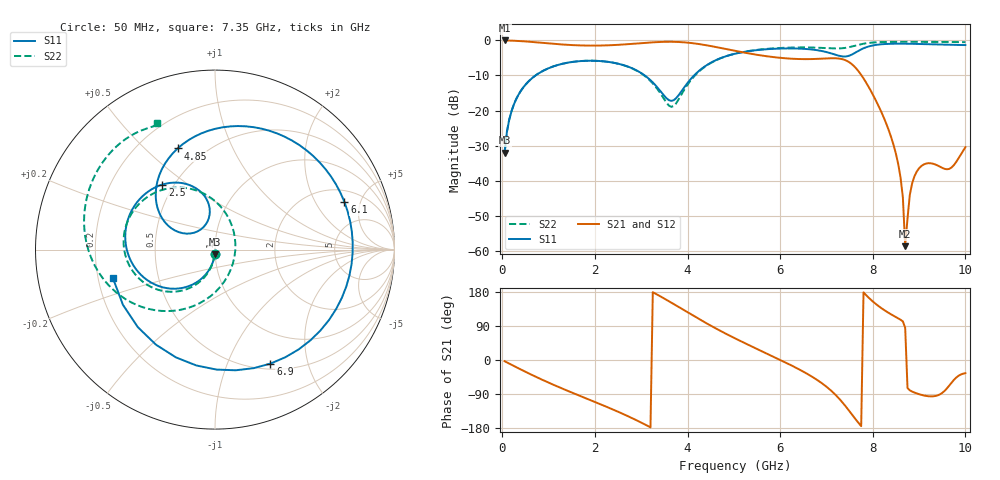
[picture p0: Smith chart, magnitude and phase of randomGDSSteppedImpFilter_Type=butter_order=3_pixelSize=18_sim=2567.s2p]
! freq	dB(S11)	phase(S11)	dB(S12)	phase(S12)
!  dB(S21)	phase(S21)	dB(S22)	phase(S22)
!S-par simulation data
#  GHz  S  DB  R 50
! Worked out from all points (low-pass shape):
!   200 points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, 50 MHz to 10 GHz, reference 50 ohm
!   highest |S21| = -0.01 dB at 50 MHz (marker M1); lowest = -58.7 dB at 8.7 GHz (marker M2)
!   |S21| within 3 dB of the highest: start of sweep to 5.041 GHz
!   lowest |S11| = -32.0 dB at 50 MHz (marker M3), VSWR 1.05, Z = 49.8 - j2.5 ohm
!   |S11| at or under -10 dB: start of sweep to 718 MHz; 3.078 GHz to 4.141 GHz (1.062 GHz wide, 29.4 % of centre)
!   |S22| runs from -32.0 to -0.4 dB; largest |S21 - S12| = 0
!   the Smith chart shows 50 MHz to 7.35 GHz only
!   S11 on the Smith chart (normalised r, x): 50 MHz: 1.00, -0.05; 2.5 GHz: 0.43, +0.40; 4.85 GHz: 0.36, +0.63; 6.1 GHz: 2.77, +3.58; 6.9 GHz: 0.57, -1.44; 7.35 GHz: 0.26, -0.13
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0.05  -32.00 -93.3  -0.01 -3.2  -0.01 -3.2  -31.99 -93.1
0.2  -20.14 -103.6  -0.06 -12.7  -0.06 -12.7  -20.13 -102.5
0.5  -12.64 -123.0  -0.29 -31.1  -0.29 -31.1  -12.64 -120.2
1.75  -5.84 166.9  -1.45 -98.3  -1.45 -98.3  -5.84 175.7
2.5  -6.63 129.0  -1.26 -136.5  -1.26 -136.5  -6.64 138.0
3.4  -14.21 99.0  -0.44 168.9  -0.44 168.9  -14.82 63.0
3.7  -17.05 133.5  -0.39 147.8  -0.39 147.8  -18.72 -21.0
4.15  -9.87 151.1  -0.85 115.1  -0.85 115.1  -10.14 -106.1
4.85  -4.42 110.2  -2.51 68.0  -2.51 68.0  -4.43 -156.7
5.05  -3.72 96.8  -3.03 55.6  -3.03 55.6  -3.70 -167.3
6.1  -2.29 20.2  -5.08 -5.6  -5.08 -5.6  -2.09 148.7
6.7  -2.61 -37.5  -5.31 -45.0  -5.31 -45.0  -2.03 128.8
6.9  -3.02 -64.1  -5.20 -61.2  -5.20 -61.2  -2.12 123.1
7.35  -4.57 -164.5  -5.37 -112.6  -5.37 -112.6  -2.23 114.6
7.7  -2.91 80.5  -8.93 -167.2  -8.93 -167.2  -1.21 107.4
8  -1.43 13.8  -15.40 154.5  -15.40 154.5  -0.60 95.5
8.35  -0.97 -35.9  -25.79 123.8  -25.79 123.8  -0.42 82.0
8.6  -0.93 -63.4  -39.10 106.2  -39.10 106.2  -0.40 73.0
8.7  -0.94 -73.5  -58.67 84.9  -58.67 84.9  -0.40 69.5
8.8  -0.95 -83.3  -44.04 -80.0  -44.04 -80.0  -0.40 66.1
8.95  -0.99 -97.5  -37.39 -88.2  -37.39 -88.2  -0.40 61.0
10  -1.32 163.0  -30.44 -34.8  -30.44 -34.8  -0.49 25.4
